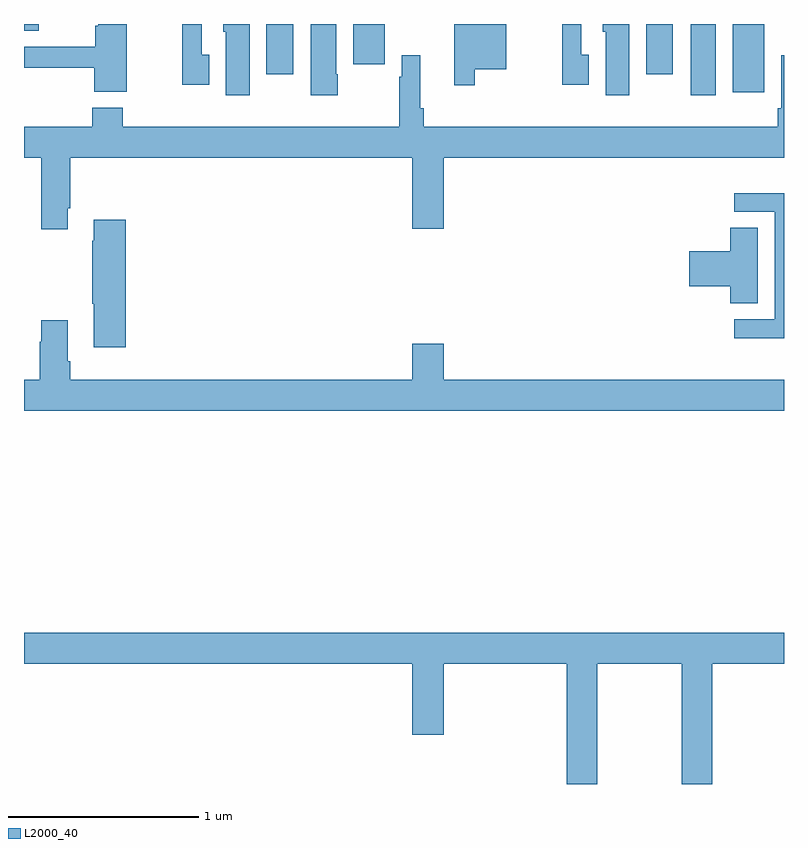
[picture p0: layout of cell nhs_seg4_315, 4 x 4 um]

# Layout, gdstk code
import gdstk
lib = gdstk.Library(unit=1e-6, precision=1e-09)
def R(c, l, rs):  # rectangles x0, y0, x1, y1
    for r in rs: c.add(gdstk.rectangle(r[:2], r[2:], *l))
def P(c, l, *ps):  # polygons
    for p in ps: c.add(gdstk.Polygon(p, *l))
L2000_40 = (2000, 40)

nhs_seg4_315 = lib.new_cell('nhs_seg4_315')
R(nhs_seg4_315, L2000_40, [(130.508,754.524,130.642,754.9), (130.73,754.542,130.897,754.9), (128.276,754.635,128.416,754.9), (130.274,754.635,130.414,754.9), (128.732,754.689,128.899,754.9), (127,754.864,127.078,754.9)])
P(nhs_seg4_315, L2000_40, [(130.186,754.9),(130.046,754.9),(130.046,754.86),(130.061,754.86),(130.061,754.524),(130.186,754.524)],
  [(128.188,754.9),(128.048,754.9),(128.048,754.86),(128.063,754.86),(128.063,754.524),(128.188,754.524)],
  [(129.373,754.661),(129.538,754.661),(129.538,754.9),(129.264,754.9),(129.264,754.578),(129.373,754.578)],
  [(129.973,754.737),(129.933,754.737),(129.933,754.9),(129.832,754.9),(129.832,754.581),(129.973,754.581)],
  [(127.54,754.9),(127.392,754.9),(127.392,754.89),(127.375,754.89),(127.375,754.78),(127.182,754.78),(127.182,754.779),(127,754.779),(127,754.671),(127.37,754.671),(127.37,754.544),(127.54,754.544)],
  [(128.652,754.636),(128.644,754.636),(128.644,754.9),(128.51,754.9),(128.51,754.524),(128.652,754.524)],
  [(127.975,754.737),(127.935,754.737),(127.935,754.9),(127.834,754.9),(127.834,754.581),(127.975,754.581)],
  [(127.231,753.931),(127.244,753.931),(127.244,754.196),(129.044,754.196),(129.044,753.822),(129.208,753.822),(129.208,754.196),(131,754.196),(131,754.735),(130.986,754.735),(130.986,754.456),(130.966,754.456),(130.966,754.36),(129.104,754.36),(129.104,754.456),(129.086,754.456),(129.086,754.735),(128.988,754.735),(128.988,754.622),(128.976,754.622),(128.976,754.36),(127.52,754.36),(127.52,754.459),(127.36,754.459),(127.36,754.36),(127,754.36),(127,754.196),(127.091,754.196),(127.091,753.819),(127.231,753.819)],
  [(130.95,753.912),(130.95,753.345),(130.737,753.345),(130.737,753.247),(131,753.247),(131,754.008),(130.737,754.008),(130.737,753.912)],
  [(127.535,753.871),(127.367,753.871),(127.367,753.758),(127.36,753.758),(127.36,753.427),(127.367,753.427),(127.367,753.2),(127.535,753.2)],
  [(130.861,753.827),(130.718,753.827),(130.718,753.704),(130.5,753.704),(130.5,753.521),(130.718,753.521),(130.718,753.43),(130.861,753.43)],
  [(131,753.028),(129.208,753.028),(129.208,753.217),(129.044,753.217),(129.044,753.028),(127.244,753.028),(127.244,753.124),(127.231,753.124),(127.231,753.34),(127.091,753.34),(127.091,753.227),(127.084,753.227),(127.084,753.028),(127,753.028),(127,752.864),(131,752.864)],
  [(130.017,751.532),(130.462,751.532),(130.462,750.9),(130.622,750.9),(130.622,751.532),(131,751.532),(131,751.696),(127,751.696),(127,751.532),(129.044,751.532),(129.044,751.158),(129.208,751.158),(129.208,751.532),(129.857,751.532),(129.857,750.9),(130.017,750.9)])

lib.write_gds('nhs_seg4_315.gds')
